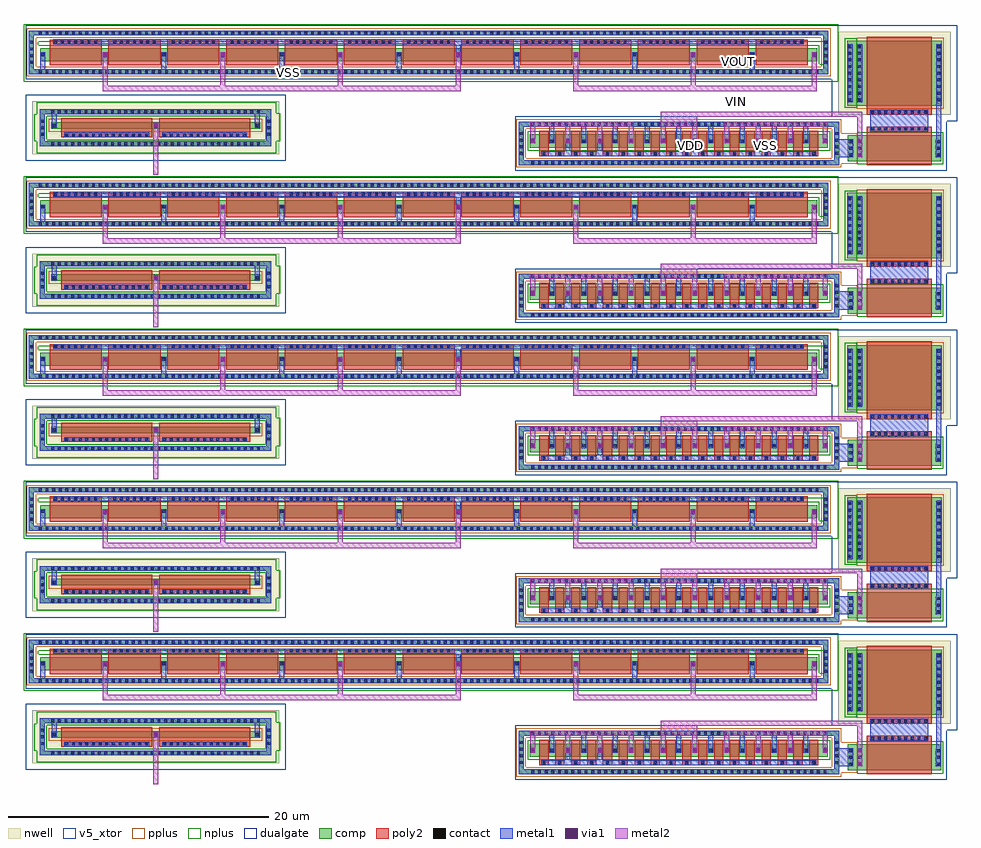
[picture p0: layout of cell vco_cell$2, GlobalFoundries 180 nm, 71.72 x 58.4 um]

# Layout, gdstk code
from math import pi, radians
import gdstk
lib = gdstk.Library(unit=1e-6, precision=5e-09)
def R(c, l, rs):  # rectangles x0, y0, x1, y1
    for r in rs: c.add(gdstk.rectangle(r[:2], r[2:], *l))
def A(c, l, x, y, w, h, nx, ny, dx, dy):  # array of equal rectangles
    R(c, l, [(x+i*dx, y+j*dy, x+i*dx+w, y+j*dy+h) for i in range(nx) for j in range(ny)])
def P(c, l, *ps):  # polygons
    for p in ps: c.add(gdstk.Polygon(p, *l))
nwell = (21, 0)
comp = (22, 0)
poly2 = (30, 0)
pplus = (31, 0)
nplus = (32, 0)
contact = (33, 0)
metal1 = (34, 0)
via1 = (35, 0)
metal2 = (36, 0)
dualgate = (55, 0)
v5_xtor = (112, 1)

nfet_1_9 = lib.new_cell('nfet$1$9')

pfet_3_11 = lib.new_cell('pfet$3$11')

pfet_14 = lib.new_cell('pfet$14')

pfet_1_8 = lib.new_cell('pfet$1$8')

vco_inv_forlvs_8 = lib.new_cell('vco_inv_forlvs$8')
vco_inv_forlvs_8.add(gdstk.Reference(nfet_1_9, (9.895,-4.855), rotation=pi, x_reflection=True))
vco_inv_forlvs_8.add(gdstk.Reference(pfet_3_11, (9.875,4.415), rotation=pi))
vco_inv_forlvs_8.add(gdstk.Reference(pfet_14, (7.49,0.665), rotation=pi))
vco_inv_forlvs_8.add(gdstk.Reference(pfet_14, (7.265,0.74), rotation=pi))
vco_inv_forlvs_8.add(gdstk.Reference(pfet_1_8, (8.54,2.73), rotation=pi))
vco_inv_forlvs_8.add(gdstk.Reference(pfet_1_8, (6.875,1.175), rotation=pi))

nfet_1_1_3 = lib.new_cell('nfet$1$1$3')

pfet_3_1_3 = lib.new_cell('pfet$3$1$3')

pfet_2_4 = lib.new_cell('pfet$2$4')

pfet_1_1_3 = lib.new_cell('pfet$1$1$3')

vco_inv_forlvs_1_3 = lib.new_cell('vco_inv_forlvs$1$3')
vco_inv_forlvs_1_3.add(gdstk.Reference(nfet_1_1_3, (9.895,-4.855), rotation=pi, x_reflection=True))
vco_inv_forlvs_1_3.add(gdstk.Reference(pfet_3_1_3, (9.875,4.415), rotation=pi))
vco_inv_forlvs_1_3.add(gdstk.Reference(pfet_2_4, (7.49,0.665), rotation=pi))
vco_inv_forlvs_1_3.add(gdstk.Reference(pfet_2_4, (7.265,0.74), rotation=pi))
vco_inv_forlvs_1_3.add(gdstk.Reference(pfet_1_1_3, (8.54,2.73), rotation=pi))
vco_inv_forlvs_1_3.add(gdstk.Reference(pfet_1_1_3, (6.875,1.175), rotation=pi))

nfet_1_2_2 = lib.new_cell('nfet$1$2$2')

pfet_3_2_2 = lib.new_cell('pfet$3$2$2')

pfet_4_2 = lib.new_cell('pfet$4$2')

pfet_1_2_2 = lib.new_cell('pfet$1$2$2')

vco_inv_forlvs_2_2 = lib.new_cell('vco_inv_forlvs$2$2')
vco_inv_forlvs_2_2.add(gdstk.Reference(nfet_1_2_2, (9.895,-4.855), rotation=pi, x_reflection=True))
vco_inv_forlvs_2_2.add(gdstk.Reference(pfet_3_2_2, (9.875,4.415), rotation=pi))
vco_inv_forlvs_2_2.add(gdstk.Reference(pfet_4_2, (7.49,0.665), rotation=pi))
vco_inv_forlvs_2_2.add(gdstk.Reference(pfet_4_2, (7.265,0.74), rotation=pi))
vco_inv_forlvs_2_2.add(gdstk.Reference(pfet_1_2_2, (8.54,2.73), rotation=pi))
vco_inv_forlvs_2_2.add(gdstk.Reference(pfet_1_2_2, (6.875,1.175), rotation=pi))

nfet_1_3_2 = lib.new_cell('nfet$1$3$2')

pfet_3_3_2 = lib.new_cell('pfet$3$3$2')

pfet_5_2 = lib.new_cell('pfet$5$2')

pfet_1_3_2 = lib.new_cell('pfet$1$3$2')

vco_inv_forlvs_3_2 = lib.new_cell('vco_inv_forlvs$3$2')
vco_inv_forlvs_3_2.add(gdstk.Reference(nfet_1_3_2, (9.895,-4.855), rotation=pi, x_reflection=True))
vco_inv_forlvs_3_2.add(gdstk.Reference(pfet_3_3_2, (9.875,4.415), rotation=pi))
vco_inv_forlvs_3_2.add(gdstk.Reference(pfet_5_2, (7.49,0.665), rotation=pi))
vco_inv_forlvs_3_2.add(gdstk.Reference(pfet_5_2, (7.265,0.74), rotation=pi))
vco_inv_forlvs_3_2.add(gdstk.Reference(pfet_1_3_2, (8.54,2.73), rotation=pi))
vco_inv_forlvs_3_2.add(gdstk.Reference(pfet_1_3_2, (6.875,1.175), rotation=pi))

nfet_7 = lib.new_cell('nfet$7')

vco_nmosmirr_forlvs_6 = lib.new_cell('vco_nmosmirr_forlvs$6')
vco_nmosmirr_forlvs_6.add(gdstk.Reference(nfet_7, (-0.415,-0.11)))
vco_nmosmirr_forlvs_6.add(gdstk.Label('VDD1', (2.995,3.085), layer=42, texttype=10))
vco_nmosmirr_forlvs_6.add(gdstk.Label('VDD2', (10.41,3.06), layer=42, texttype=10))
vco_nmosmirr_forlvs_6.add(gdstk.Label('VDD3', (17.99,3.18), layer=42, texttype=10))

nfet_1_4_2 = lib.new_cell('nfet$1$4$2')

pfet_3_4_2 = lib.new_cell('pfet$3$4$2')

pfet_6_2 = lib.new_cell('pfet$6$2')

pfet_1_4_2 = lib.new_cell('pfet$1$4$2')

vco_inv_forlvs_4_2 = lib.new_cell('vco_inv_forlvs$4$2')
vco_inv_forlvs_4_2.add(gdstk.Reference(nfet_1_4_2, (9.895,-4.855), rotation=pi, x_reflection=True))
vco_inv_forlvs_4_2.add(gdstk.Reference(pfet_3_4_2, (9.875,4.415), rotation=pi))
vco_inv_forlvs_4_2.add(gdstk.Reference(pfet_6_2, (7.49,0.665), rotation=pi))
vco_inv_forlvs_4_2.add(gdstk.Reference(pfet_6_2, (7.265,0.74), rotation=pi))
vco_inv_forlvs_4_2.add(gdstk.Reference(pfet_1_4_2, (8.54,2.73), rotation=pi))
vco_inv_forlvs_4_2.add(gdstk.Reference(pfet_1_4_2, (6.875,1.175), rotation=pi))

nfet_2_3 = lib.new_cell('nfet$2$3')

vco_nmosmirr_forlvs_1_3 = lib.new_cell('vco_nmosmirr_forlvs$1$3')
vco_nmosmirr_forlvs_1_3.add(gdstk.Reference(nfet_2_3, (-0.415,-0.11)))
vco_nmosmirr_forlvs_1_3.add(gdstk.Label('VDD1', (2.995,3.085), layer=42, texttype=10))
vco_nmosmirr_forlvs_1_3.add(gdstk.Label('VDD2', (10.41,3.06), layer=42, texttype=10))
vco_nmosmirr_forlvs_1_3.add(gdstk.Label('VDD3', (17.99,3.18), layer=42, texttype=10))

nfet_3_2 = lib.new_cell('nfet$3$2')

vco_nmosmirr_forlvs_2_2 = lib.new_cell('vco_nmosmirr_forlvs$2$2')
vco_nmosmirr_forlvs_2_2.add(gdstk.Reference(nfet_3_2, (-0.415,-0.11)))
vco_nmosmirr_forlvs_2_2.add(gdstk.Label('VDD1', (2.995,3.085), layer=42, texttype=10))
vco_nmosmirr_forlvs_2_2.add(gdstk.Label('VDD2', (10.41,3.06), layer=42, texttype=10))
vco_nmosmirr_forlvs_2_2.add(gdstk.Label('VDD3', (17.99,3.18), layer=42, texttype=10))

pfet_7_2 = lib.new_cell('pfet$7$2')

pfet_3_5_2 = lib.new_cell('pfet$3$5$2')

vco_vcont_forlvs_4 = lib.new_cell('vco_vcont_forlvs$4')
vco_vcont_forlvs_4.add(gdstk.Reference(pfet_7_2, (-0.435,0.23)))
vco_vcont_forlvs_4.add(gdstk.Reference(pfet_3_5_2, (-0.74,0.02)))

nfet_1_5_2 = lib.new_cell('nfet$1$5$2')

pfet_3_6_2 = lib.new_cell('pfet$3$6$2')

pfet_8_2 = lib.new_cell('pfet$8$2')

pfet_1_5_2 = lib.new_cell('pfet$1$5$2')

vco_inv_forlvs_5_2 = lib.new_cell('vco_inv_forlvs$5$2')
vco_inv_forlvs_5_2.add(gdstk.Reference(nfet_1_5_2, (9.895,-4.855), rotation=pi, x_reflection=True))
vco_inv_forlvs_5_2.add(gdstk.Reference(pfet_3_6_2, (9.875,4.415), rotation=pi))
vco_inv_forlvs_5_2.add(gdstk.Reference(pfet_8_2, (7.49,0.665), rotation=pi))
vco_inv_forlvs_5_2.add(gdstk.Reference(pfet_8_2, (7.265,0.74), rotation=pi))
vco_inv_forlvs_5_2.add(gdstk.Reference(pfet_1_5_2, (8.54,2.73), rotation=pi))
vco_inv_forlvs_5_2.add(gdstk.Reference(pfet_1_5_2, (6.875,1.175), rotation=pi))
vco_inv_forlvs_5_2.add(gdstk.Label('VIN', (4.745,2.45), layer=34, texttype=10))
vco_inv_forlvs_5_2.add(gdstk.Label('VOUT', (4.915,5.48), layer=34, texttype=10))
vco_inv_forlvs_5_2.add(gdstk.Label('VSS', (6.98,-0.97), layer=34, texttype=10))
vco_inv_forlvs_5_2.add(gdstk.Label('VDD', (1.23,-0.965), layer=34, texttype=10))
vco_inv_forlvs_5_2.add(gdstk.Label('VIN', (4.745,18.25), layer=34, texttype=10))
vco_inv_forlvs_5_2.add(gdstk.Label('VIN', (4.745,34.05), layer=34, texttype=10))
vco_inv_forlvs_5_2.add(gdstk.Label('VIN', (4.745,49.85), layer=34, texttype=10))
vco_inv_forlvs_5_2.add(gdstk.Label('VIN', (4.745,65.65), layer=34, texttype=10))
vco_inv_forlvs_5_2.add(gdstk.Label('VOUT', (4.915,21.28), layer=34, texttype=10))
vco_inv_forlvs_5_2.add(gdstk.Label('VOUT', (4.915,37.08), layer=34, texttype=10))
vco_inv_forlvs_5_2.add(gdstk.Label('VOUT', (4.915,52.88), layer=34, texttype=10))
vco_inv_forlvs_5_2.add(gdstk.Label('VOUT', (4.915,68.68), layer=34, texttype=10))
vco_inv_forlvs_5_2.add(gdstk.Label('VSS', (6.98,14.83), layer=34, texttype=10))
vco_inv_forlvs_5_2.add(gdstk.Label('VSS', (6.98,30.63), layer=34, texttype=10))
vco_inv_forlvs_5_2.add(gdstk.Label('VSS', (6.98,46.43), layer=34, texttype=10))
vco_inv_forlvs_5_2.add(gdstk.Label('VSS', (6.98,62.23), layer=34, texttype=10))
vco_inv_forlvs_5_2.add(gdstk.Label('VDD', (1.23,14.835), layer=34, texttype=10))
vco_inv_forlvs_5_2.add(gdstk.Label('VDD', (1.23,30.635), layer=34, texttype=10))
vco_inv_forlvs_5_2.add(gdstk.Label('VDD', (1.23,46.435), layer=34, texttype=10))
vco_inv_forlvs_5_2.add(gdstk.Label('VDD', (1.23,62.235), layer=34, texttype=10))

nfet_4_2 = lib.new_cell('nfet$4$2')

vco_nmosmirr_forlvs_3_2 = lib.new_cell('vco_nmosmirr_forlvs$3$2')
vco_nmosmirr_forlvs_3_2.add(gdstk.Reference(nfet_4_2, (-0.415,-0.11)))
vco_nmosmirr_forlvs_3_2.add(gdstk.Label('VSS', (-29.64,29.665), layer=34, texttype=10))
vco_nmosmirr_forlvs_3_2.add(gdstk.Label('VSS', (-29.64,45.465), layer=34, texttype=10))
vco_nmosmirr_forlvs_3_2.add(gdstk.Label('VSS', (-29.64,61.265), layer=34, texttype=10))
vco_nmosmirr_forlvs_3_2.add(gdstk.Label('VSS', (-29.64,77.065), layer=34, texttype=10))
vco_nmosmirr_forlvs_3_2.add(gdstk.Label('VSS', (-29.64,92.865), layer=34, texttype=10))
vco_nmosmirr_forlvs_3_2.add(gdstk.Label('VDD1', (2.995,3.085), layer=42, texttype=10))
vco_nmosmirr_forlvs_3_2.add(gdstk.Label('VDD2', (10.41,3.06), layer=42, texttype=10))
vco_nmosmirr_forlvs_3_2.add(gdstk.Label('VDD3', (17.99,3.18), layer=42, texttype=10))

pfet_2_1_2 = lib.new_cell('pfet$2$1$2')

pfet_9_2 = lib.new_cell('pfet$9$2')

vco_pmosmirr_forlvs_3 = lib.new_cell('vco_pmosmirr_forlvs$3')
vco_pmosmirr_forlvs_3.add(gdstk.Reference(pfet_2_1_2, (55.425,-0.395), rotation=pi, x_reflection=True))
vco_pmosmirr_forlvs_3.add(gdstk.Reference(pfet_9_2, (52.52,0.065), rotation=pi, x_reflection=True))
vco_pmosmirr_forlvs_3.add(gdstk.Reference(pfet_9_2, (55.445,0.13), rotation=pi, x_reflection=True))
vco_pmosmirr_forlvs_3.add(gdstk.Reference(pfet_9_2, (54.975,-2.405), rotation=pi, x_reflection=True))

pfet_10_2 = lib.new_cell('pfet$10$2')

pfet_3_7_2 = lib.new_cell('pfet$3$7$2')

vco_vcont_forlvs_1_2 = lib.new_cell('vco_vcont_forlvs$1$2')
vco_vcont_forlvs_1_2.add(gdstk.Reference(pfet_10_2, (-0.435,0.23)))
vco_vcont_forlvs_1_2.add(gdstk.Reference(pfet_3_7_2, (-0.74,0.02)))

nfet_2_1_2 = lib.new_cell('nfet$2$1$2')
A(nfet_2_1_2, comp, -10.7, -22.785, 0.42, 1, 1, 5, 0, 11.7)
A(nfet_2_1_2, comp, -10.28, -22.785, 22.06, 1, 1, 5, 0, 11.7)
A(nfet_2_1_2, comp, 11.78, -22.785, 0.42, 1, 1, 5, 0, 11.7)
P(nfet_2_1_2, comp, [(-11.56,-12.445),(-11.56,-9.475),(-11.18,-9.475),(-11.18,-12.065),(12.68,-12.065),(12.68,-9.475),(-11.56,-9.475),(-11.56,-9.095),(13.06,-9.095),(13.06,-12.445)],
  [(-11.56,-0.745),(-11.56,2.225),(-11.18,2.225),(-11.18,-0.365),(12.68,-0.365),(12.68,2.225),(-11.56,2.225),(-11.56,2.605),(13.06,2.605),(13.06,-0.745)],
  [(-11.56,10.955),(-11.56,13.925),(-11.18,13.925),(-11.18,11.335),(12.68,11.335),(12.68,13.925),(-11.56,13.925),(-11.56,14.305),(13.06,14.305),(13.06,10.955)],
  [(-11.56,22.655),(-11.56,25.625),(-11.18,25.625),(-11.18,23.035),(12.68,23.035),(12.68,25.625),(-11.56,25.625),(-11.56,26.005),(13.06,26.005),(13.06,22.655)],
  [(-11.56,-24.145),(-11.56,-21.175),(-11.18,-21.175),(-11.18,-23.765),(12.68,-23.765),(12.68,-21.175),(-11.56,-21.175),(-11.56,-20.795),(13.06,-20.795),(13.06,-24.145)])
A(nfet_2_1_2, poly2, -9.97, -23.445, 0.7, 0.36, 18, 5, 1.22, 11.7)
A(nfet_2_1_2, poly2, -9.97, -23.085, 0.7, 1.6, 18, 5, 1.22, 11.7)
P(nfet_2_1_2, pplus, [(-11.73,-12.615),(-11.73,-9.645),(-11.01,-9.645),(-11.01,-11.895),(12.51,-11.895),(12.51,-9.645),(-11.73,-9.645),(-11.73,-8.925),(13.23,-8.925),(13.23,-12.615)],
  [(-11.73,-0.915),(-11.73,2.055),(-11.01,2.055),(-11.01,-0.195),(12.51,-0.195),(12.51,2.055),(-11.73,2.055),(-11.73,2.775),(13.23,2.775),(13.23,-0.915)],
  [(-11.73,10.785),(-11.73,13.755),(-11.01,13.755),(-11.01,11.505),(12.51,11.505),(12.51,13.755),(-11.73,13.755),(-11.73,14.475),(13.23,14.475),(13.23,10.785)],
  [(-11.73,22.485),(-11.73,25.455),(-11.01,25.455),(-11.01,23.205),(12.51,23.205),(12.51,25.455),(-11.73,25.455),(-11.73,26.175),(13.23,26.175),(13.23,22.485)],
  [(-11.73,-24.315),(-11.73,-21.345),(-11.01,-21.345),(-11.01,-23.595),(12.51,-23.595),(12.51,-21.345),(-11.73,-21.345),(-11.73,-20.625),(13.23,-20.625),(13.23,-24.315)])
A(nfet_2_1_2, nplus, -10.87, -23.025, 23.24, 1.48, 1, 5, 0, 11.7)
A(nfet_2_1_2, contact, -10.58, -24.065, 0.22, 0.22, 45, 2, 0.51, 2.97)
A(nfet_2_1_2, contact, -9.73, -23.375, 0.22, 0.22, 18, 5, 1.22, 11.7)
A(nfet_2_1_2, contact, -11.48, -23.345, 0.22, 0.22, 1, 4, 0, 0.51)
A(nfet_2_1_2, contact, 12.76, -23.345, 0.22, 0.22, 1, 4, 0, 0.51)
A(nfet_2_1_2, contact, -10.6, -22.395, 0.22, 0.22, 1, 5, 0, 11.7)
A(nfet_2_1_2, contact, -9.12, -22.395, 0.22, 0.22, 17, 5, 1.22, 11.7)
A(nfet_2_1_2, contact, 11.88, -22.395, 0.22, 0.22, 1, 5, 0, 11.7)
A(nfet_2_1_2, contact, -10.58, -12.365, 0.22, 0.22, 45, 2, 0.51, 2.97)
A(nfet_2_1_2, contact, -11.48, -11.645, 0.22, 0.22, 1, 4, 0, 0.51)
A(nfet_2_1_2, contact, 12.76, -11.645, 0.22, 0.22, 1, 4, 0, 0.51)
A(nfet_2_1_2, contact, -10.58, -0.665, 0.22, 0.22, 45, 2, 0.51, 2.97)
A(nfet_2_1_2, contact, -11.48, 0.055, 0.22, 0.22, 1, 4, 0, 0.51)
A(nfet_2_1_2, contact, 12.76, 0.055, 0.22, 0.22, 1, 4, 0, 0.51)
A(nfet_2_1_2, contact, -10.58, 11.035, 0.22, 0.22, 45, 2, 0.51, 2.97)
A(nfet_2_1_2, contact, -11.48, 11.755, 0.22, 0.22, 1, 4, 0, 0.51)
A(nfet_2_1_2, contact, 12.76, 11.755, 0.22, 0.22, 1, 4, 0, 0.51)
A(nfet_2_1_2, contact, -10.58, 22.735, 0.22, 0.22, 45, 2, 0.51, 2.97)
A(nfet_2_1_2, contact, -11.48, 23.455, 0.22, 0.22, 1, 4, 0, 0.51)
A(nfet_2_1_2, contact, 12.76, 23.455, 0.22, 0.22, 1, 4, 0, 0.51)
A(nfet_2_1_2, metal1, -9.81, -23.455, 0.38, 0.38, 18, 5, 1.22, 11.7)
A(nfet_2_1_2, metal1, -10.68, -22.475, 0.38, 0.38, 1, 5, 0, 11.7)
A(nfet_2_1_2, metal1, -9.2, -22.475, 0.38, 0.38, 17, 5, 1.22, 11.7)
A(nfet_2_1_2, metal1, 11.8, -22.475, 0.38, 0.38, 1, 5, 0, 11.7)
A(nfet_2_1_2, dualgate, -11.81, -24.555, 25.12, 4.17, 1, 5, 0, 11.7)
A(nfet_2_1_2, dualgate, -11.81, -24.395, 25.12, 3.85, 1, 5, 0, 11.7)
A(nfet_2_1_2, v5_xtor, -11.81, -24.555, 25.12, 4.17, 1, 5, 0, 11.7)
A(nfet_2_1_2, v5_xtor, -11.81, -24.395, 25.12, 3.85, 1, 5, 0, 11.7)

vco_nmosmirr_forlvs_1_1_ = lib.new_cell('vco_nmosmirr_forlvs$1$1$2')
A(vco_nmosmirr_forlvs_1_1_, metal1, -11.975, -23.875, 0.38, 2.59, 1, 5, 0, 11.7)
A(vco_nmosmirr_forlvs_1_1_, metal1, 12.265, -23.875, 0.38, 2.59, 1, 5, 0, 11.7)
A(vco_nmosmirr_forlvs_1_1_, metal1, -10.225, -23.565, 21.12, 0.38, 1, 5, 0, 11.7)
A(vco_nmosmirr_forlvs_1_1_, metal1, -8.395, -23.565, 0.38, 1.3, 1, 5, 0, 11.7)
A(vco_nmosmirr_forlvs_1_1_, metal1, -5.955, -23.565, 0.38, 1.3, 1, 5, 0, 11.7)
A(vco_nmosmirr_forlvs_1_1_, metal1, -9.615, -22.585, 0.38, 1.3, 9, 5, 2.44, 11.7)
R(vco_nmosmirr_forlvs_1_1_, metal1, [(-11.975,-24.255,12.645,-23.875), (-11.975,-21.285,12.645,-20.905), (-11.975,-12.555,12.645,-12.175), (-11.975,-9.585,12.645,-9.205), (-11.975,-0.855,12.645,-0.475), (-11.975,2.115,12.645,2.495), (-11.975,10.845,12.645,11.225), (-11.975,13.815,12.645,14.195), (-11.975,22.545,12.645,22.925), (-11.975,25.515,12.645,25.895)])
A(vco_nmosmirr_forlvs_1_1_, via1, -11.035, -22.525, 0.26, 0.26, 1, 5, 0, 11.7)
A(vco_nmosmirr_forlvs_1_1_, via1, -8.335, -22.525, 0.26, 0.26, 8, 5, 2.44, 11.7)
A(vco_nmosmirr_forlvs_1_1_, via1, 11.445, -22.525, 0.26, 0.26, 1, 5, 0, 11.7)
A(vco_nmosmirr_forlvs_1_1_, metal2, -11.095, -22.585, 0.38, 1.68, 1, 5, 0, 11.7)
A(vco_nmosmirr_forlvs_1_1_, metal2, -8.395, -22.585, 0.38, 1.68, 8, 5, 2.44, 11.7)
A(vco_nmosmirr_forlvs_1_1_, metal2, 11.385, -22.585, 0.38, 1.68, 1, 5, 0, 11.7)
A(vco_nmosmirr_forlvs_1_1_, metal2, -11.095, -21.285, 7.96, 0.38, 1, 5, 0, 11.7)
A(vco_nmosmirr_forlvs_1_1_, metal2, -1.075, -21.285, 2.82, 0.38, 1, 5, 0, 11.7)
A(vco_nmosmirr_forlvs_1_1_, metal2, 3.805, -21.285, 7.96, 0.38, 1, 5, 0, 11.7)
vco_nmosmirr_forlvs_1_1_.add(gdstk.Reference(nfet_2_1_2, (-0.415,-0.11)))
vco_nmosmirr_forlvs_1_1_.add(gdstk.Label('VSS', (-21.89,22.945), layer=34, texttype=10))
vco_nmosmirr_forlvs_1_1_.add(gdstk.Label('VDD1', (-17.475,22.955), layer=42, texttype=10))
vco_nmosmirr_forlvs_1_1_.add(gdstk.Label('VDD2', (-2.52,22.99), layer=42, texttype=10))

pfet_1_1_1_2 = lib.new_cell('pfet$1$1$1$2')

pfet_2_2_2 = lib.new_cell('pfet$2$2$2')

pfet_3_1_1_2 = lib.new_cell('pfet$3$1$1$2')
A(pfet_3_1_1_2, nwell, -11.34, -3.39, 8.65, 6.38, 1, 5, 0, 11.7)
A(pfet_3_1_1_2, comp, -10.65, -2.7, 0.46, 5, 1, 5, 0, 11.7)
A(pfet_3_1_1_2, comp, -10.19, -2.7, 5.62, 5, 1, 5, 0, 11.7)
A(pfet_3_1_1_2, comp, -4.57, -2.7, 0.46, 5, 1, 5, 0, 11.7)
A(pfet_3_1_1_2, comp, -4.11, -2.7, 0.73, 5, 1, 5, 0, 11.7)
A(pfet_3_1_1_2, poly2, -9.88, -3, 5, 5.6, 1, 5, 0, 11.7)
A(pfet_3_1_1_2, poly2, -9.88, 2.6, 5, 0.38, 1, 5, 0, 11.7)
A(pfet_3_1_1_2, pplus, -10.82, -2.94, 6.71, 5.48, 1, 5, 0, 11.7)
A(pfet_3_1_1_2, nplus, -4.11, -2.87, 0.9, 5.34, 1, 5, 0, 11.7)
A(pfet_3_1_1_2, contact, -10.53, -2.35, 0.22, 0.22, 1, 9, 0, 0.51)
A(pfet_3_1_1_2, contact, -4.45, -2.35, 0.22, 0.22, 1, 9, 0, 0.51)
A(pfet_3_1_1_2, contact, -3.72, -2.35, 0.22, 0.22, 1, 9, 0, 0.51)
A(pfet_3_1_1_2, contact, -9.53, 2.68, 0.22, 0.22, 9, 5, 0.51, 11.7)
A(pfet_3_1_1_2, contact, -10.53, 9.35, 0.22, 0.22, 1, 9, 0, 0.51)
A(pfet_3_1_1_2, contact, -4.45, 9.35, 0.22, 0.22, 1, 9, 0, 0.51)
A(pfet_3_1_1_2, contact, -3.72, 9.35, 0.22, 0.22, 1, 9, 0, 0.51)
A(pfet_3_1_1_2, contact, -10.53, 21.05, 0.22, 0.22, 1, 9, 0, 0.51)
A(pfet_3_1_1_2, contact, -4.45, 21.05, 0.22, 0.22, 1, 9, 0, 0.51)
A(pfet_3_1_1_2, contact, -3.72, 21.05, 0.22, 0.22, 1, 9, 0, 0.51)
A(pfet_3_1_1_2, contact, -10.53, 32.75, 0.22, 0.22, 1, 9, 0, 0.51)
A(pfet_3_1_1_2, contact, -4.45, 32.75, 0.22, 0.22, 1, 9, 0, 0.51)
A(pfet_3_1_1_2, contact, -3.72, 32.75, 0.22, 0.22, 1, 9, 0, 0.51)
A(pfet_3_1_1_2, contact, -10.53, 44.45, 0.22, 0.22, 1, 9, 0, 0.51)
A(pfet_3_1_1_2, contact, -4.45, 44.45, 0.22, 0.22, 1, 9, 0, 0.51)
A(pfet_3_1_1_2, contact, -3.72, 44.45, 0.22, 0.22, 1, 9, 0, 0.51)
A(pfet_3_1_1_2, metal1, -10.61, -2.43, 0.38, 4.46, 1, 5, 0, 11.7)
A(pfet_3_1_1_2, metal1, -4.53, -2.43, 0.38, 4.46, 1, 5, 0, 11.7)
A(pfet_3_1_1_2, metal1, -3.8, -2.43, 0.38, 4.46, 1, 5, 0, 11.7)
A(pfet_3_1_1_2, metal1, -9.61, 2.6, 4.46, 0.38, 1, 5, 0, 11.7)
A(pfet_3_1_1_2, dualgate, -11.84, -3.89, 9.65, 7.38, 1, 5, 0, 11.7)
A(pfet_3_1_1_2, v5_xtor, -11.84, -3.89, 9.65, 7.38, 1, 5, 0, 11.7)

nfet_1_1_1_2 = lib.new_cell('nfet$1$1$1$2')
A(nfet_1_1_1_2, comp, -10.61, -44.1, 0.42, 2, 1, 5, 0, 11.7)
A(nfet_1_1_1_2, comp, -10.19, -44.1, 5.62, 2, 1, 5, 0, 11.7)
A(nfet_1_1_1_2, comp, -4.57, -44.1, 0.42, 2, 1, 5, 0, 11.7)
A(nfet_1_1_1_2, comp, -4.15, -44.1, 0.71, 2, 1, 5, 0, 11.7)
A(nfet_1_1_1_2, poly2, -9.88, -44.4, 5, 2.6, 1, 5, 0, 11.7)
A(nfet_1_1_1_2, poly2, -9.88, -41.8, 5, 0.36, 1, 5, 0, 11.7)
A(nfet_1_1_1_2, pplus, -4.15, -44.27, 0.88, 2.34, 1, 5, 0, 11.7)
A(nfet_1_1_1_2, nplus, -10.78, -44.34, 6.63, 2.48, 1, 5, 0, 11.7)
A(nfet_1_1_1_2, contact, -10.51, -43.72, 0.22, 0.22, 1, 3, 0, 0.51)
A(nfet_1_1_1_2, contact, -4.47, -43.72, 0.22, 0.22, 1, 3, 0, 0.51)
A(nfet_1_1_1_2, contact, -3.76, -43.72, 0.22, 0.22, 1, 3, 0, 0.51)
A(nfet_1_1_1_2, contact, -9.53, -41.73, 0.22, 0.22, 9, 5, 0.51, 11.7)
A(nfet_1_1_1_2, contact, -10.51, -32.02, 0.22, 0.22, 1, 3, 0, 0.51)
A(nfet_1_1_1_2, contact, -4.47, -32.02, 0.22, 0.22, 1, 3, 0, 0.51)
A(nfet_1_1_1_2, contact, -3.76, -32.02, 0.22, 0.22, 1, 3, 0, 0.51)
A(nfet_1_1_1_2, contact, -10.51, -20.32, 0.22, 0.22, 1, 3, 0, 0.51)
A(nfet_1_1_1_2, contact, -4.47, -20.32, 0.22, 0.22, 1, 3, 0, 0.51)
A(nfet_1_1_1_2, contact, -3.76, -20.32, 0.22, 0.22, 1, 3, 0, 0.51)
A(nfet_1_1_1_2, contact, -10.51, -8.62, 0.22, 0.22, 1, 3, 0, 0.51)
A(nfet_1_1_1_2, contact, -4.47, -8.62, 0.22, 0.22, 1, 3, 0, 0.51)
A(nfet_1_1_1_2, contact, -3.76, -8.62, 0.22, 0.22, 1, 3, 0, 0.51)
A(nfet_1_1_1_2, contact, -10.51, 3.08, 0.22, 0.22, 1, 3, 0, 0.51)
A(nfet_1_1_1_2, contact, -4.47, 3.08, 0.22, 0.22, 1, 3, 0, 0.51)
A(nfet_1_1_1_2, contact, -3.76, 3.08, 0.22, 0.22, 1, 3, 0, 0.51)
A(nfet_1_1_1_2, metal1, -10.59, -43.8, 0.38, 1.4, 1, 5, 0, 11.7)
A(nfet_1_1_1_2, metal1, -4.55, -43.8, 0.38, 1.4, 1, 5, 0, 11.7)
A(nfet_1_1_1_2, metal1, -3.84, -43.8, 0.38, 1.4, 1, 5, 0, 11.7)
A(nfet_1_1_1_2, metal1, -9.61, -41.81, 4.46, 0.38, 1, 5, 0, 11.7)
A(nfet_1_1_1_2, dualgate, -11.03, -44.81, 8.01, 3.79, 1, 5, 0, 11.7)
A(nfet_1_1_1_2, v5_xtor, -11.03, -44.81, 8.01, 3.79, 1, 5, 0, 11.7)

vco_inv_forlvs_1_1_2 = lib.new_cell('vco_inv_forlvs$1$1$2')
A(vco_inv_forlvs_1_1_2, metal1, 20.105, -47.255, 0.38, 2.84, 1, 5, 0, 11.7)
A(vco_inv_forlvs_1_1_2, metal1, 15.025, -46.285, 4.46, 0.92, 1, 5, 0, 11.7)
vco_inv_forlvs_1_1_2.add(gdstk.Reference(pfet_1_1_1_2, (8.54,2.73), rotation=pi))
vco_inv_forlvs_1_1_2.add(gdstk.Reference(pfet_1_1_1_2, (6.875,1.175), rotation=pi))
vco_inv_forlvs_1_1_2.add(gdstk.Reference(pfet_2_2_2, (7.49,0.665), rotation=pi))
vco_inv_forlvs_1_1_2.add(gdstk.Reference(pfet_2_2_2, (7.265,0.74), rotation=pi))
vco_inv_forlvs_1_1_2.add(gdstk.Reference(pfet_3_1_1_2, (9.875,4.415), rotation=pi))
vco_inv_forlvs_1_1_2.add(gdstk.Reference(nfet_1_1_1_2, (9.875,-4.855), rotation=pi, x_reflection=True))
vco_inv_forlvs_1_1_2.add(gdstk.Label('VBP', (3.245,1.89), layer=34, texttype=10))
vco_inv_forlvs_1_1_2.add(gdstk.Label('VDD', (3.995,1.9), layer=34, texttype=10))
vco_inv_forlvs_1_1_2.add(gdstk.Label('VIN', (7.075,-1.615), layer=34, texttype=10))
vco_inv_forlvs_1_1_2.add(gdstk.Label('VOUT', (10.105,-1.785), layer=34, texttype=10))

nfet_5_2 = lib.new_cell('nfet$5$2')

vco_nmosmirr_forlvs_4_2 = lib.new_cell('vco_nmosmirr_forlvs$4$2')
vco_nmosmirr_forlvs_4_2.add(gdstk.Reference(nfet_5_2, (-0.415,-0.11)))

pfet_1_6_2 = lib.new_cell('pfet$1$6$2')

pfet_11_2 = lib.new_cell('pfet$11$2')

pfet_3_8_2 = lib.new_cell('pfet$3$8$2')

nfet_1_6_2 = lib.new_cell('nfet$1$6$2')

vco_inv_forlvs_6_2 = lib.new_cell('vco_inv_forlvs$6$2')
vco_inv_forlvs_6_2.add(gdstk.Reference(pfet_1_6_2, (8.54,2.73), rotation=pi))
vco_inv_forlvs_6_2.add(gdstk.Reference(pfet_1_6_2, (6.875,1.175), rotation=pi))
vco_inv_forlvs_6_2.add(gdstk.Reference(pfet_11_2, (7.49,0.665), rotation=pi))
vco_inv_forlvs_6_2.add(gdstk.Reference(pfet_11_2, (7.265,0.74), rotation=pi))
vco_inv_forlvs_6_2.add(gdstk.Reference(pfet_3_8_2, (9.875,4.415), rotation=pi))
vco_inv_forlvs_6_2.add(gdstk.Reference(nfet_1_6_2, (9.875,-4.855), rotation=pi, x_reflection=True))

vco_inv_nmosmirr_forlvs_ = lib.new_cell('vco_inv-nmosmirr_forlvs$2')
A(vco_inv_nmosmirr_forlvs_, pplus, 62.815, 0.875, 0.33, 2.34, 1, 5, 0, 11.7)
A(vco_inv_nmosmirr_forlvs_, metal1, 62.645, 1.345, 0.69, 1.4, 1, 5, 0, 11.7)
R(vco_inv_nmosmirr_forlvs_, via1, [(64.105,1.405,64.365,1.665), (64.105,2.425,64.365,2.685), (64.105,13.105,64.365,13.365), (64.105,14.125,64.365,14.385), (64.105,24.805,64.365,25.065), (64.105,25.825,64.365,26.085), (64.105,36.505,64.365,36.765), (64.105,37.525,64.365,37.785), (64.105,48.205,64.365,48.465), (64.105,49.225,64.365,49.485)])
A(vco_inv_nmosmirr_forlvs_, metal2, 64.045, 1.345, 0.38, 3.51, 1, 5, 0, 11.7)
A(vco_inv_nmosmirr_forlvs_, metal2, 48.925, 4.095, 2.82, 0.38, 1, 5, 0, 11.7)
A(vco_inv_nmosmirr_forlvs_, metal2, 48.925, 4.475, 15.5, 0.38, 1, 5, 0, 11.7)
vco_inv_nmosmirr_forlvs_.add(gdstk.Reference(vco_nmosmirr_forlvs_1_1_, (50,25)))
vco_inv_nmosmirr_forlvs_.add(gdstk.Reference(vco_inv_forlvs_1_1_2, (50,50)))
vco_inv_nmosmirr_forlvs_.add(gdstk.Reference(vco_nmosmirr_forlvs_4_2, (50,25)))
vco_inv_nmosmirr_forlvs_.add(gdstk.Reference(vco_inv_forlvs_6_2, (50,50)))

nfet_1_7_2 = lib.new_cell('nfet$1$7$2')
A(nfet_1_7_2, comp, 3.175, -0.24, 0.42, 1, 1, 5, 0, 11.7)
A(nfet_1_7_2, comp, 3.595, -0.24, 58.86, 1, 1, 5, 0, 11.7)
A(nfet_1_7_2, comp, 62.455, -0.24, 0.42, 1, 1, 5, 0, 11.7)
P(nfet_1_7_2, comp, [(2.315,10.47),(2.315,13.44),(2.695,13.44),(2.695,10.85),(63.355,10.85),(63.355,13.44),(2.315,13.44),(2.315,13.82),(63.735,13.82),(63.735,10.47)],
  [(2.315,22.17),(2.315,25.14),(2.695,25.14),(2.695,22.55),(63.355,22.55),(63.355,25.14),(2.315,25.14),(2.315,25.52),(63.735,25.52),(63.735,22.17)],
  [(2.315,33.87),(2.315,36.84),(2.695,36.84),(2.695,34.25),(63.355,34.25),(63.355,36.84),(2.315,36.84),(2.315,37.22),(63.735,37.22),(63.735,33.87)],
  [(2.315,45.57),(2.315,48.54),(2.695,48.54),(2.695,45.95),(63.355,45.95),(63.355,48.54),(2.315,48.54),(2.315,48.92),(63.735,48.92),(63.735,45.57)],
  [(2.315,-1.23),(2.315,1.74),(2.695,1.74),(2.695,-0.85),(63.355,-0.85),(63.355,1.74),(2.315,1.74),(2.315,2.12),(63.735,2.12),(63.735,-1.23)])
A(nfet_1_7_2, poly2, 3.905, -0.54, 4, 1.6, 13, 5, 4.52, 11.7)
A(nfet_1_7_2, poly2, 3.905, 1.06, 4, 0.36, 13, 5, 4.52, 11.7)
P(nfet_1_7_2, pplus, [(2.145,10.3),(2.145,13.27),(2.865,13.27),(2.865,11.02),(63.185,11.02),(63.185,13.27),(2.145,13.27),(2.145,13.99),(63.905,13.99),(63.905,10.3)],
  [(2.145,22),(2.145,24.97),(2.865,24.97),(2.865,22.72),(63.185,22.72),(63.185,24.97),(2.145,24.97),(2.145,25.69),(63.905,25.69),(63.905,22)],
  [(2.145,33.7),(2.145,36.67),(2.865,36.67),(2.865,34.42),(63.185,34.42),(63.185,36.67),(2.145,36.67),(2.145,37.39),(63.905,37.39),(63.905,33.7)],
  [(2.145,45.4),(2.145,48.37),(2.865,48.37),(2.865,46.12),(63.185,46.12),(63.185,48.37),(2.145,48.37),(2.145,49.09),(63.905,49.09),(63.905,45.4)],
  [(2.145,-1.4),(2.145,1.57),(2.865,1.57),(2.865,-0.68),(63.185,-0.68),(63.185,1.57),(2.145,1.57),(2.145,2.29),(63.905,2.29),(63.905,-1.4)])
A(nfet_1_7_2, nplus, 3.005, -0.48, 60.04, 1.48, 1, 5, 0, 11.7)
A(nfet_1_7_2, contact, 3.08, -1.15, 0.22, 0.22, 118, 2, 0.51, 2.97)
A(nfet_1_7_2, contact, 2.395, -0.43, 0.22, 0.22, 1, 4, 0, 0.51)
A(nfet_1_7_2, contact, 63.435, -0.43, 0.22, 0.22, 1, 4, 0, 0.51)
A(nfet_1_7_2, contact, 3.275, 0.15, 0.22, 0.22, 1, 5, 0, 11.7)
A(nfet_1_7_2, contact, 8.055, 0.15, 0.22, 0.22, 12, 5, 4.52, 11.7)
A(nfet_1_7_2, contact, 62.555, 0.15, 0.22, 0.22, 1, 5, 0, 11.7)
A(nfet_1_7_2, contact, 4.265, 1.13, 0.22, 0.22, 7, 5, 0.51, 11.7)
A(nfet_1_7_2, contact, 8.785, 1.13, 0.22, 0.22, 7, 5, 0.51, 11.7)
A(nfet_1_7_2, contact, 13.305, 1.13, 0.22, 0.22, 7, 5, 0.51, 11.7)
A(nfet_1_7_2, contact, 17.825, 1.13, 0.22, 0.22, 7, 5, 0.51, 11.7)
A(nfet_1_7_2, contact, 22.345, 1.13, 0.22, 0.22, 7, 5, 0.51, 11.7)
A(nfet_1_7_2, contact, 26.865, 1.13, 0.22, 0.22, 7, 5, 0.51, 11.7)
A(nfet_1_7_2, contact, 31.385, 1.13, 0.22, 0.22, 7, 5, 0.51, 11.7)
A(nfet_1_7_2, contact, 35.905, 1.13, 0.22, 0.22, 7, 5, 0.51, 11.7)
A(nfet_1_7_2, contact, 40.425, 1.13, 0.22, 0.22, 7, 5, 0.51, 11.7)
A(nfet_1_7_2, contact, 44.945, 1.13, 0.22, 0.22, 7, 5, 0.51, 11.7)
A(nfet_1_7_2, contact, 49.465, 1.13, 0.22, 0.22, 7, 5, 0.51, 11.7)
A(nfet_1_7_2, contact, 53.985, 1.13, 0.22, 0.22, 7, 5, 0.51, 11.7)
A(nfet_1_7_2, contact, 58.505, 1.13, 0.22, 0.22, 7, 5, 0.51, 11.7)
A(nfet_1_7_2, contact, 3.08, 10.55, 0.22, 0.22, 118, 2, 0.51, 2.97)
A(nfet_1_7_2, contact, 2.395, 11.27, 0.22, 0.22, 1, 4, 0, 0.51)
A(nfet_1_7_2, contact, 63.435, 11.27, 0.22, 0.22, 1, 4, 0, 0.51)
A(nfet_1_7_2, contact, 3.08, 22.25, 0.22, 0.22, 118, 2, 0.51, 2.97)
A(nfet_1_7_2, contact, 2.395, 22.97, 0.22, 0.22, 1, 4, 0, 0.51)
A(nfet_1_7_2, contact, 63.435, 22.97, 0.22, 0.22, 1, 4, 0, 0.51)
A(nfet_1_7_2, contact, 3.08, 33.95, 0.22, 0.22, 118, 2, 0.51, 2.97)
A(nfet_1_7_2, contact, 2.395, 34.67, 0.22, 0.22, 1, 4, 0, 0.51)
A(nfet_1_7_2, contact, 63.435, 34.67, 0.22, 0.22, 1, 4, 0, 0.51)
A(nfet_1_7_2, contact, 3.08, 45.65, 0.22, 0.22, 118, 2, 0.51, 2.97)
A(nfet_1_7_2, contact, 2.395, 46.37, 0.22, 0.22, 1, 4, 0, 0.51)
A(nfet_1_7_2, contact, 63.435, 46.37, 0.22, 0.22, 1, 4, 0, 0.51)
A(nfet_1_7_2, metal1, 3.195, 0.07, 0.38, 0.38, 1, 5, 0, 11.7)
A(nfet_1_7_2, metal1, 7.975, 0.07, 0.38, 0.38, 12, 5, 4.52, 11.7)
A(nfet_1_7_2, metal1, 62.475, 0.07, 0.38, 0.38, 1, 5, 0, 11.7)
A(nfet_1_7_2, metal1, 4.185, 1.05, 3.44, 0.38, 13, 5, 4.52, 11.7)
A(nfet_1_7_2, dualgate, 2.065, -1.64, 61.92, 4.17, 1, 5, 0, 11.7)
A(nfet_1_7_2, dualgate, 2.065, -1.48, 61.92, 3.85, 1, 5, 0, 11.7)
A(nfet_1_7_2, v5_xtor, 2.065, -1.64, 61.92, 4.17, 1, 5, 0, 11.7)
A(nfet_1_7_2, v5_xtor, 2.065, -1.48, 61.92, 3.85, 1, 5, 0, 11.7)

vco_pmosmirr_forlvs_1_2 = lib.new_cell('vco_pmosmirr_forlvs$1$2')
A(vco_pmosmirr_forlvs_1_2, nplus, -0.25, 6.91, 1.1, 4.435, 1, 5, 0, 11.7)
A(vco_pmosmirr_forlvs_1_2, nplus, 61.24, 6.91, 1.1, 4.435, 1, 5, 0, 11.7)
R(vco_pmosmirr_forlvs_1_2, nplus, [(-0.25,6.91,62.34,8.265), (-0.25,9.99,62.34,11.345), (-0.25,18.61,62.34,19.965), (-0.25,21.69,62.34,23.045), (-0.25,30.31,62.34,31.665), (-0.25,33.39,62.34,34.745), (-0.25,42.01,62.34,43.365), (-0.25,45.09,62.34,46.445), (-0.25,53.71,62.34,55.065), (-0.25,56.79,62.34,58.145)])
A(vco_pmosmirr_forlvs_1_2, metal1, 0.145, 7.875, 0.38, 2.59, 1, 5, 0, 11.7)
A(vco_pmosmirr_forlvs_1_2, metal1, 1.025, 7.875, 0.38, 0.92, 1, 5, 0, 11.7)
A(vco_pmosmirr_forlvs_1_2, metal1, 61.185, 7.875, 0.38, 2.59, 1, 5, 0, 11.7)
A(vco_pmosmirr_forlvs_1_2, metal1, 10.325, 7.88, 0.38, 0.92, 6, 5, 9.04, 11.7)
A(vco_pmosmirr_forlvs_1_2, metal1, 32.925, 9.175, 0.38, 0.61, 1, 5, 0, 11.7)
A(vco_pmosmirr_forlvs_1_2, metal1, 2.015, 9.775, 57.68, 0.38, 1, 5, 0, 11.7)
R(vco_pmosmirr_forlvs_1_2, metal1, [(0.145,7.495,61.565,7.875), (0.145,10.465,61.565,10.845), (0.145,19.195,61.565,19.575), (0.145,22.165,61.565,22.545), (0.145,30.895,61.565,31.275), (0.145,33.865,61.565,34.245), (0.145,42.595,61.565,42.975), (0.145,45.565,61.565,45.945), (0.145,54.295,61.565,54.675), (0.145,57.265,61.565,57.645)])
A(vco_pmosmirr_forlvs_1_2, via1, 5.865, 8.855, 0.26, 0.26, 6, 5, 9.04, 11.7)
A(vco_pmosmirr_forlvs_1_2, via1, 60.365, 8.855, 0.26, 0.26, 1, 5, 0, 11.7)
A(vco_pmosmirr_forlvs_1_2, metal2, 5.805, 6.175, 0.38, 3, 6, 5, 9.04, 11.7)
A(vco_pmosmirr_forlvs_1_2, metal2, 6.185, 6.175, 27.12, 0.415, 1, 5, 0, 11.7)
A(vco_pmosmirr_forlvs_1_2, metal2, 41.965, 6.175, 18.72, 0.415, 1, 5, 0, 11.7)
A(vco_pmosmirr_forlvs_1_2, metal2, 60.305, 6.175, 0.38, 3, 1, 5, 0, 11.7)
vco_pmosmirr_forlvs_1_2.add(gdstk.Reference(nfet_1_7_2, (-2.17,8.725)))
vco_pmosmirr_forlvs_1_2.add(gdstk.Label('VDD', (57.475,10.855), layer=34, texttype=10))
vco_pmosmirr_forlvs_1_2.add(gdstk.Label('VSS2', (48.745,6.545), layer=36, texttype=10))
vco_pmosmirr_forlvs_1_2.add(gdstk.Label('VSS1', (24.04,6.565), layer=36, texttype=10))

pfet_12_2 = lib.new_cell('pfet$12$2')

pfet_3_9_2 = lib.new_cell('pfet$3$9$2')
A(pfet_3_9_2, nwell, 1.12, 1.31, 19, 4.08, 1, 5, 0, 11.7)
A(pfet_3_9_2, comp, 2.59, 3.29, 0.46, 0.5, 1, 5, 0, 11.7)
A(pfet_3_9_2, comp, 3.05, 3.29, 15.14, 0.5, 1, 5, 0, 11.7)
A(pfet_3_9_2, comp, 18.19, 3.29, 0.46, 0.5, 1, 5, 0, 11.7)
P(pfet_3_9_2, comp, [(1.73,13.62),(1.73,16.1),(2.11,16.1),(2.11,14),(19.13,14),(19.13,16.1),(1.73,16.1),(1.73,16.48),(19.51,16.48),(19.51,13.62)],
  [(1.73,25.32),(1.73,27.8),(2.11,27.8),(2.11,25.7),(19.13,25.7),(19.13,27.8),(1.73,27.8),(1.73,28.18),(19.51,28.18),(19.51,25.32)],
  [(1.73,37.02),(1.73,39.5),(2.11,39.5),(2.11,37.4),(19.13,37.4),(19.13,39.5),(1.73,39.5),(1.73,39.88),(19.51,39.88),(19.51,37.02)],
  [(1.73,48.72),(1.73,51.2),(2.11,51.2),(2.11,49.1),(19.13,49.1),(19.13,51.2),(1.73,51.2),(1.73,51.58),(19.51,51.58),(19.51,48.72)],
  [(1.73,1.92),(1.73,4.4),(2.11,4.4),(2.11,2.3),(19.13,2.3),(19.13,4.4),(1.73,4.4),(1.73,4.78),(19.51,4.78),(19.51,1.92)])
A(pfet_3_9_2, poly2, 3.36, 2.61, 7, 0.38, 1, 5, 0, 11.7)
A(pfet_3_9_2, poly2, 10.88, 2.61, 7, 0.38, 1, 5, 0, 11.7)
A(pfet_3_9_2, poly2, 3.36, 2.99, 7, 1.1, 1, 5, 0, 11.7)
A(pfet_3_9_2, poly2, 10.88, 2.99, 7, 1.1, 1, 5, 0, 11.7)
A(pfet_3_9_2, pplus, 2.42, 3.05, 16.4, 0.98, 1, 5, 0, 11.7)
A(pfet_3_9_2, contact, 2.605, 2, 0.22, 0.22, 32, 2, 0.51, 2.48)
A(pfet_3_9_2, contact, 3.69, 2.69, 0.22, 0.22, 13, 5, 0.51, 11.7)
A(pfet_3_9_2, contact, 11.21, 2.69, 0.22, 0.22, 13, 5, 0.51, 11.7)
A(pfet_3_9_2, contact, 1.81, 2.73, 0.22, 0.22, 1, 3, 0, 0.51)
A(pfet_3_9_2, contact, 19.21, 2.73, 0.22, 0.22, 1, 3, 0, 0.51)
A(pfet_3_9_2, contact, 2.71, 3.43, 0.22, 0.22, 3, 5, 7.8, 11.7)
A(pfet_3_9_2, contact, 2.605, 13.7, 0.22, 0.22, 32, 2, 0.51, 2.48)
A(pfet_3_9_2, contact, 1.81, 14.43, 0.22, 0.22, 1, 3, 0, 0.51)
A(pfet_3_9_2, contact, 19.21, 14.43, 0.22, 0.22, 1, 3, 0, 0.51)
A(pfet_3_9_2, contact, 2.605, 25.4, 0.22, 0.22, 32, 2, 0.51, 2.48)
A(pfet_3_9_2, contact, 1.81, 26.13, 0.22, 0.22, 1, 3, 0, 0.51)
A(pfet_3_9_2, contact, 19.21, 26.13, 0.22, 0.22, 1, 3, 0, 0.51)
A(pfet_3_9_2, contact, 2.605, 37.1, 0.22, 0.22, 32, 2, 0.51, 2.48)
A(pfet_3_9_2, contact, 1.81, 37.83, 0.22, 0.22, 1, 3, 0, 0.51)
A(pfet_3_9_2, contact, 19.21, 37.83, 0.22, 0.22, 1, 3, 0, 0.51)
A(pfet_3_9_2, contact, 2.605, 48.8, 0.22, 0.22, 32, 2, 0.51, 2.48)
A(pfet_3_9_2, contact, 1.81, 49.53, 0.22, 0.22, 1, 3, 0, 0.51)
A(pfet_3_9_2, contact, 19.21, 49.53, 0.22, 0.22, 1, 3, 0, 0.51)
A(pfet_3_9_2, metal1, 3.61, 2.61, 6.5, 0.38, 1, 5, 0, 11.7)
A(pfet_3_9_2, metal1, 11.13, 2.61, 6.5, 0.38, 1, 5, 0, 11.7)
A(pfet_3_9_2, metal1, 2.63, 3.35, 0.38, 0.38, 3, 5, 7.8, 11.7)
A(pfet_3_9_2, dualgate, 0.62, 0.81, 20, 5.08, 1, 5, 0, 11.7)
A(pfet_3_9_2, dualgate, 1.48, 1.67, 18.28, 3.36, 1, 5, 0, 11.7)
A(pfet_3_9_2, v5_xtor, 0.62, 0.81, 20, 5.08, 1, 5, 0, 11.7)
A(pfet_3_9_2, v5_xtor, 1.48, 1.67, 18.28, 3.36, 1, 5, 0, 11.7)

vco_vcont_forlvs_2_2 = lib.new_cell('vco_vcont_forlvs$2$2')
A(vco_vcont_forlvs_2_2, nplus, 0.57, 2.32, 0.94, 2.075, 1, 5, 0, 11.7)
A(vco_vcont_forlvs_2_2, nplus, 18.32, 2.32, 1.135, 2.165, 1, 5, 0, 11.7)
R(vco_vcont_forlvs_2_2, nplus, [(0.74,1.405,19.14,2.455), (0.74,4.265,19.14,5.315), (0.74,13.105,19.14,14.155), (0.74,15.965,19.14,17.015), (0.74,24.805,19.14,25.855), (0.74,27.665,19.14,28.715), (0.74,36.505,19.14,37.555), (0.74,39.365,19.14,40.415), (0.74,48.205,19.14,49.255), (0.74,51.065,19.14,52.115)])
A(vco_vcont_forlvs_2_2, metal1, 0.99, 2.32, 0.38, 2.1, 1, 5, 0, 11.7)
A(vco_vcont_forlvs_2_2, metal1, 18.39, 2.32, 0.38, 2.1, 1, 5, 0, 11.7)
A(vco_vcont_forlvs_2_2, metal1, 1.89, 3.75, 0.38, 0.67, 1, 5, 0, 11.7)
A(vco_vcont_forlvs_2_2, metal1, 17.49, 3.75, 0.38, 0.67, 1, 5, 0, 11.7)
R(vco_vcont_forlvs_2_2, metal1, [(0.99,1.94,18.77,2.32), (0.99,4.42,18.77,4.8), (0.99,13.64,18.77,14.02), (0.99,16.12,18.77,16.5), (0.99,25.34,18.77,25.72), (0.99,27.82,18.77,28.2), (0.99,37.04,18.77,37.42), (0.99,39.52,18.77,39.9), (0.99,48.74,18.77,49.12), (0.99,51.22,18.77,51.6)])
A(vco_vcont_forlvs_2_2, via1, 9.75, 3.43, 0.26, 0.26, 1, 5, 0, 11.7)
A(vco_vcont_forlvs_2_2, metal2, 9.69, -0.25, 0.38, 4, 1, 5, 0, 11.7)
vco_vcont_forlvs_2_2.add(gdstk.Reference(pfet_12_2, (-0.435,0.23)))
vco_vcont_forlvs_2_2.add(gdstk.Reference(pfet_3_9_2, (-0.74,0.02)))
vco_vcont_forlvs_2_2.add(gdstk.Label('VCONT', (6.52,14.56), layer=34, texttype=0))
vco_vcont_forlvs_2_2.add(gdstk.Label('VCONT', (6.52,26.26), layer=34, texttype=0))
vco_vcont_forlvs_2_2.add(gdstk.Label('VCONT', (6.52,37.96), layer=34, texttype=0))
vco_vcont_forlvs_2_2.add(gdstk.Label('VCONT', (6.52,49.66), layer=34, texttype=0))
vco_vcont_forlvs_2_2.add(gdstk.Label('VSS2', (13.85,14.515), layer=34, texttype=0))
vco_vcont_forlvs_2_2.add(gdstk.Label('VSS2', (13.85,26.215), layer=34, texttype=0))
vco_vcont_forlvs_2_2.add(gdstk.Label('VSS2', (13.85,37.915), layer=34, texttype=0))
vco_vcont_forlvs_2_2.add(gdstk.Label('VSS2', (13.85,49.615), layer=34, texttype=0))
vco_vcont_forlvs_2_2.add(gdstk.Label('VDD', (9.925,16.31), layer=34, texttype=0))
vco_vcont_forlvs_2_2.add(gdstk.Label('VDD', (9.925,28.01), layer=34, texttype=0))
vco_vcont_forlvs_2_2.add(gdstk.Label('VDD', (9.925,39.71), layer=34, texttype=0))
vco_vcont_forlvs_2_2.add(gdstk.Label('VDD', (9.925,51.41), layer=34, texttype=0))
vco_vcont_forlvs_2_2.add(gdstk.Label('VCONT', (6.52,2.86), layer=34, texttype=0))
vco_vcont_forlvs_2_2.add(gdstk.Label('VSS2', (13.85,2.815), layer=34, texttype=0))
vco_vcont_forlvs_2_2.add(gdstk.Label('VDD', (9.925,4.61), layer=34, texttype=0))
vco_vcont_forlvs_2_2.add(gdstk.Label('VSS1', (9.9,11.735), layer=36, texttype=0))
vco_vcont_forlvs_2_2.add(gdstk.Label('VSS1', (9.9,23.435), layer=36, texttype=0))
vco_vcont_forlvs_2_2.add(gdstk.Label('VSS1', (9.9,35.135), layer=36, texttype=0))
vco_vcont_forlvs_2_2.add(gdstk.Label('VSS1', (9.9,46.835), layer=36, texttype=0))
vco_vcont_forlvs_2_2.add(gdstk.Label('VSS1', (9.9,0.035), layer=36, texttype=0))

vco_cell_2 = lib.new_cell('vco_cell$2')
vco_cell_2.add(gdstk.Reference(vco_inv_forlvs_8, (0,0)))
vco_cell_2.add(gdstk.Reference(vco_inv_forlvs_1_3, (50,50)))
vco_cell_2.add(gdstk.Reference(vco_inv_forlvs_2_2, (50,50)))
vco_cell_2.add(gdstk.Reference(vco_inv_forlvs_3_2, (50,50)))
vco_cell_2.add(gdstk.Reference(vco_nmosmirr_forlvs_6, (50,25)))
vco_cell_2.add(gdstk.Reference(vco_inv_forlvs_4_2, (50,50)))
vco_cell_2.add(gdstk.Reference(vco_nmosmirr_forlvs_1_3, (50,25)))
vco_cell_2.add(gdstk.Reference(vco_nmosmirr_forlvs_2_2, (50,75)))
vco_cell_2.add(gdstk.Reference(vco_vcont_forlvs_4, (25,75)))
vco_cell_2.add(gdstk.Reference(vco_inv_forlvs_5_2, (50,50)))
vco_cell_2.add(gdstk.Reference(vco_nmosmirr_forlvs_3_2, (50,25)))
vco_cell_2.add(gdstk.Reference(vco_pmosmirr_forlvs_3, (50,75)))
vco_cell_2.add(gdstk.Reference(vco_vcont_forlvs_1_2, (25,75)))
vco_cell_2.add(gdstk.Reference(vco_inv_nmosmirr_forlvs_, (0,0)))
vco_cell_2.add(gdstk.Reference(vco_pmosmirr_forlvs_1_2, (0.25,0.25)))
vco_cell_2.add(gdstk.Reference(vco_vcont_forlvs_2_2, (0.25,0.25)))
vco_cell_2.add(gdstk.Label('VIN', (54.745,52.45), layer=34, texttype=10))
vco_cell_2.add(gdstk.Label('VOUT', (54.915,55.48), layer=34, texttype=10))
vco_cell_2.add(gdstk.Label('VSS', (56.98,49.03), layer=34, texttype=10))
vco_cell_2.add(gdstk.Label('VDD', (51.23,49.035), layer=34, texttype=10))
vco_cell_2.add(gdstk.Label('VSS', (20.36,54.665), layer=34, texttype=10))
vco_cell_2.add(gdstk.Label('VIN', (54.745,68.25), layer=34, texttype=10))
vco_cell_2.add(gdstk.Label('VIN', (54.745,84.05), layer=34, texttype=10))
vco_cell_2.add(gdstk.Label('VIN', (54.745,99.85), layer=34, texttype=10))
vco_cell_2.add(gdstk.Label('VIN', (54.745,115.65), layer=34, texttype=10))
vco_cell_2.add(gdstk.Label('VOUT', (54.915,71.28), layer=34, texttype=10))
vco_cell_2.add(gdstk.Label('VOUT', (54.915,87.08), layer=34, texttype=10))
vco_cell_2.add(gdstk.Label('VOUT', (54.915,102.88), layer=34, texttype=10))
vco_cell_2.add(gdstk.Label('VOUT', (54.915,118.68), layer=34, texttype=10))
vco_cell_2.add(gdstk.Label('VSS', (56.98,64.83), layer=34, texttype=10))
vco_cell_2.add(gdstk.Label('VSS', (56.98,80.63), layer=34, texttype=10))
vco_cell_2.add(gdstk.Label('VSS', (56.98,96.43), layer=34, texttype=10))
vco_cell_2.add(gdstk.Label('VSS', (56.98,112.23), layer=34, texttype=10))
vco_cell_2.add(gdstk.Label('VDD', (51.23,64.835), layer=34, texttype=10))
vco_cell_2.add(gdstk.Label('VDD', (51.23,80.635), layer=34, texttype=10))
vco_cell_2.add(gdstk.Label('VDD', (51.23,96.435), layer=34, texttype=10))
vco_cell_2.add(gdstk.Label('VDD', (51.23,112.235), layer=34, texttype=10))
vco_cell_2.add(gdstk.Label('VSS', (20.36,70.465), layer=34, texttype=10))
vco_cell_2.add(gdstk.Label('VSS', (20.36,86.265), layer=34, texttype=10))
vco_cell_2.add(gdstk.Label('VSS', (20.36,102.065), layer=34, texttype=10))
vco_cell_2.add(gdstk.Label('VSS', (20.36,117.865), layer=34, texttype=10))

lib.write_gds('vco_cell_2.gds')
